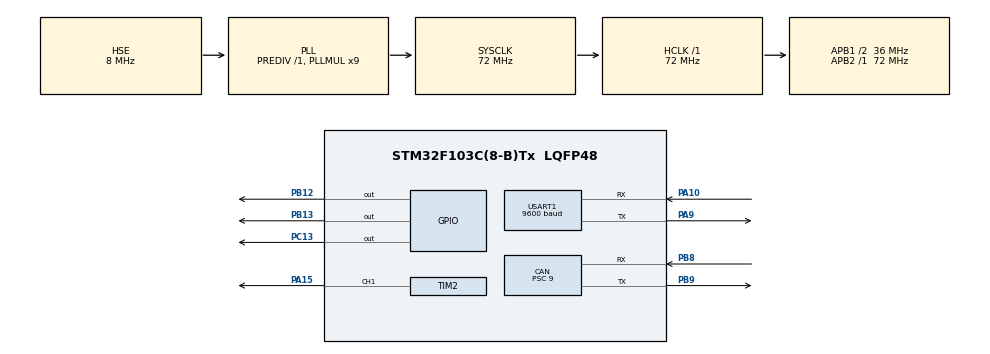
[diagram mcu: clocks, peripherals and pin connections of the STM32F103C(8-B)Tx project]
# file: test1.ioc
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CAN.BS1=CAN_BS1_4TQ
CAN.BS2=CAN_BS2_3TQ
CAN.CalculateBaudRate=500000
CAN.CalculateTimeBit=2000
CAN.CalculateTimeQuantum=250.0
CAN.Prescaler=9
Dma.Request0=USART1_TX
Dma.USART1_TX.0.Direction=DMA_MEMORY_TO_PERIPH
Dma.USART1_TX.0.Instance=DMA1_Channel4
Dma.USART1_TX.0.MemDataAlignment=DMA_MDATAALIGN_BYTE
Dma.USART1_TX.0.MemInc=DMA_MINC_ENABLE
Dma.USART1_TX.0.Mode=DMA_NORMAL
Dma.USART1_TX.0.PeriphDataAlignment=DMA_PDATAALIGN_BYTE
Dma.USART1_TX.0.PeriphInc=DMA_PINC_DISABLE
Dma.USART1_TX.0.Priority=DMA_PRIORITY_LOW
Mcu.Family=STM32F1
Mcu.Name=STM32F103C(8-B)Tx
Mcu.Package=LQFP48
NVIC.DMA1_Channel4_IRQn=true\:0\:0\:false\:false\:true\:false\:true\:true
NVIC.PriorityGroup=NVIC_PRIORITYGROUP_4
NVIC.TIM4_IRQn=true\:0\:0\:false\:false\:true\:true\:true\:true
NVIC.USART1_IRQn=true\:0\:0\:false\:false\:true\:true\:true\:true
NVIC.USB_LP_CAN1_RX0_IRQn=true\:0\:0\:false\:false\:true\:true\:true\:true
PA10.Mode=Asynchronous
PA10.Signal=USART1_RX
PA13.Mode=Serial_Wire
PA13.Signal=SYS_JTMS-SWDIO
PA14.Mode=Serial_Wire
PA14.Signal=SYS_JTCK-SWCLK
PA15.Signal=S_TIM2_CH1_ETR
PA9.Mode=Asynchronous
PA9.Signal=USART1_TX
PB12.Signal=GPIO_Output
PB13.Signal=GPIO_Output
PB8.Mode=CAN_Activate
PB8.Signal=CAN_RX
PB9.Mode=CAN_Activate
PB9.Signal=CAN_TX
PC13-TAMPER-RTC.Signal=GPIO_Output
PD0-OSC_IN.Mode=HSE-External-Oscillator
PD0-OSC_IN.Signal=RCC_OSC_IN
PD1-OSC_OUT.Mode=HSE-External-Oscillator
PD1-OSC_OUT.Signal=RCC_OSC_OUT
ProjectManager.HeapSize=0x200
ProjectManager.StackSize=0x400
ProjectManager.TargetToolchain=MDK-ARM V5.32
RCC.AHBFreq_Value=72000000
RCC.APB1CLKDivider=RCC_HCLK_DIV2
RCC.APB1Freq_Value=36000000
RCC.APB1TimFreq_Value=72000000
RCC.APB2Freq_Value=72000000
RCC.APB2TimFreq_Value=72000000
RCC.HCLKFreq_Value=72000000
RCC.PLLMUL=RCC_PLL_MUL9
RCC.PLLSourceVirtual=RCC_PLLSOURCE_HSE
RCC.SYSCLKFreq_VALUE=72000000
RCC.SYSCLKSource=RCC_SYSCLKSOURCE_PLLCLK
RCC.USBFreq_Value=72000000
SH.S_TIM2_CH1_ETR.0=TIM2_CH1,PWM Generation1 CH1
TIM2.Channel-PWM\ Generation1\ CH1=TIM_CHANNEL_1
TIM2.Period=500
TIM2.Prescaler=71
TIM2.Pulse-PWM\ Generation1\ CH1=0
TIM4.AutoReloadPreload=TIM_AUTORELOAD_PRELOAD_ENABLE
TIM4.Period=1000
TIM4.Prescaler=71
USART1.BaudRate=9600
USART1.VirtualMode=VM_ASYNC
VP_TIM2_VS_ClockSourceINT.Mode=Internal
VP_TIM4_VS_ClockSourceINT.Mode=Internal
board=custom

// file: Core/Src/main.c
/* USER CODE BEGIN Header */
/**
  ******************************************************************************
  * @file           : main.c
  * @brief          : Main program body
  ******************************************************************************
  * @attention
  *
  * Copyright (c) 2024 STMicroelectronics.
  * All rights reserved.
  *
  * This software is licensed under terms that can be found in the LICENSE file
  * in the root directory of this software component.
  * If no LICENSE file comes with this software, it is provided AS-IS.
  *
  ******************************************************************************
  */
/* USER CODE END Header */
#include "main.h"
#include "can.h"
#include "dma.h"
#include "tim.h"
#include "usart.h"
#include "gpio.h"

/* USER CODE BEGIN Includes */
#include "interrupt.h"
#include "motor.h"
#include "OLED.h"
#include "com.h"
#include "bh1750.h"
/* USER CODE END Includes */

void SystemClock_Config(void);

int main(void)
{

  /* MCU Configuration--------------------------------------------------------*/

  /* Reset of all peripherals, Initializes the Flash interface and the Systick. */
  HAL_Init();

  /* Configure the system clock */
  SystemClock_Config();

  /* Initialize all configured peripherals */
  MX_GPIO_Init();
  MX_DMA_Init();
  MX_TIM4_Init();
  MX_TIM2_Init();
  MX_USART1_UART_Init();
  MX_CAN_Init();
  /* USER CODE BEGIN 2 */
	OLED_Init();
	PIDParameterInit();
  HAL_TIM_PWM_Start(&htim2,TIM_CHANNEL_1);
		OLED_ShowString(1, 1, "lux:");
	OLED_ShowString(2, 1, "mode:");
	HAL_TIM_Base_Start_IT(&htim4);
	Init_BH1750();
  /* USER CODE END 2 */

  /* Infinite loop */
  /* USER CODE BEGIN WHILE */
  while (1)
  {
		LightRealValue.LightIntensity = Value_GY30();
    uint32_t NuData=Value_GY30();
    OLED_ShowHexNum(1, 8, NuData, 3);
OLED_mode();

		//HAL_Delay(100);
    /* USER CODE END WHILE */

  }
}

void SystemClock_Config(void)
{
  RCC_OscInitTypeDef RCC_OscInitStruct = {0};
  RCC_ClkInitTypeDef RCC_ClkInitStruct = {0};

  /** Initializes the RCC Oscillators according to the specified parameters
  * in the RCC_OscInitTypeDef structure.
  */
  RCC_OscInitStruct.OscillatorType = RCC_OSCILLATORTYPE_HSE;
  RCC_OscInitStruct.HSEState = RCC_HSE_ON;
  RCC_OscInitStruct.HSEPredivValue = RCC_HSE_PREDIV_DIV1;
  RCC_OscInitStruct.HSIState = RCC_HSI_ON;
  RCC_OscInitStruct.PLL.PLLState = RCC_PLL_ON;
  RCC_OscInitStruct.PLL.PLLSource = RCC_PLLSOURCE_HSE;
  RCC_OscInitStruct.PLL.PLLMUL = RCC_PLL_MUL9;
  if (HAL_RCC_OscConfig(&RCC_OscInitStruct) != HAL_OK)
  {
    Error_Handler();
  }

  /** Initializes the CPU, AHB and APB buses clocks
  */
  RCC_ClkInitStruct.ClockType = RCC_CLOCKTYPE_HCLK|RCC_CLOCKTYPE_SYSCLK
                              |RCC_CLOCKTYPE_PCLK1|RCC_CLOCKTYPE_PCLK2;
  RCC_ClkInitStruct.SYSCLKSource = RCC_SYSCLKSOURCE_PLLCLK;
  RCC_ClkInitStruct.AHBCLKDivider = RCC_SYSCLK_DIV1;
  RCC_ClkInitStruct.APB1CLKDivider = RCC_HCLK_DIV2;
  RCC_ClkInitStruct.APB2CLKDivider = RCC_HCLK_DIV1;

  if (HAL_RCC_ClockConfig(&RCC_ClkInitStruct, FLASH_LATENCY_2) != HAL_OK)
  {
    Error_Handler();
  }
}

void Error_Handler(void)
{
  __disable_irq();
  while (1)
  {
  }
}
